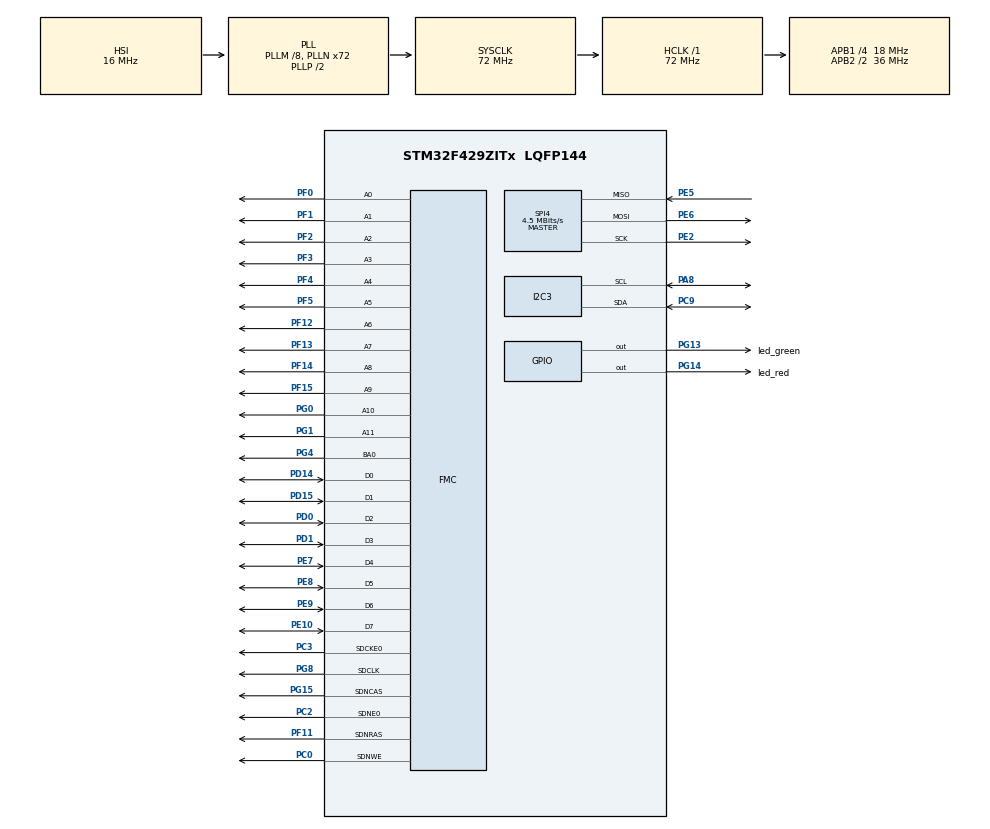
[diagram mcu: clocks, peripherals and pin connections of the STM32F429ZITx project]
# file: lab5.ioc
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FMC.CASLatency2=FMC_SDRAM_CAS_LATENCY_3
Mcu.Family=STM32F4
Mcu.Name=STM32F429ZITx
Mcu.Package=LQFP144
NVIC.FMC_IRQn=true\:0\:0\:false\:false\:true\:true\:true\:true
NVIC.FPU_IRQn=true\:0\:0\:false\:false\:true\:true\:false\:true
NVIC.I2C3_ER_IRQn=true\:0\:0\:false\:false\:true\:true\:true\:true
NVIC.I2C3_EV_IRQn=true\:0\:0\:false\:false\:true\:true\:true\:true
NVIC.PriorityGroup=NVIC_PRIORITYGROUP_4
NVIC.SPI4_IRQn=true\:0\:0\:false\:false\:true\:true\:true\:true
PA13.Signal=SYS_JTMS-SWDIO
PA14.Signal=SYS_JTCK-SWCLK
PA5.Signal=SPI1_SCK
PA6.Signal=SPI1_MISO
PA7.Signal=SPI1_MOSI
PA8.Mode=I2C
PA8.Signal=I2C3_SCL
PB10.Signal=SPI2_SCK
PB3.Signal=SYS_JTDO-SWO
PC0.Signal=FMC_SDNWE
PC2.Mode=SdramChipSelect1_2
PC2.Signal=FMC_SDNE0
PC3.Mode=SdramChipSelect1_2
PC3.Signal=FMC_SDCKE0
PC9.Mode=I2C
PC9.Signal=I2C3_SDA
PD0.Signal=FMC_D2_DA2
PD1.Signal=FMC_D3_DA3
PD14.Signal=FMC_D0_DA0
PD15.Signal=FMC_D1_DA1
PE10.Signal=FMC_D7_DA7
PE2.Mode=Full_Duplex_Master
PE2.Signal=SPI4_SCK
PE5.Mode=Full_Duplex_Master
PE5.Signal=SPI4_MISO
PE6.Mode=Full_Duplex_Master
PE6.Signal=SPI4_MOSI
PE7.Signal=FMC_D4_DA4
PE8.Signal=FMC_D5_DA5
PE9.Signal=FMC_D6_DA6
PF0.Signal=FMC_A0
PF1.Signal=FMC_A1
PF11.Signal=FMC_SDNRAS
PF12.Signal=FMC_A6
PF13.Signal=FMC_A7
PF14.Signal=FMC_A8
PF15.Signal=FMC_A9
PF2.Signal=FMC_A2
PF3.Signal=FMC_A3
PF4.Signal=FMC_A4
PF5.Signal=FMC_A5
PG0.Signal=FMC_A10
PG1.Signal=FMC_A11
PG13.GPIO_Label=led_green
PG13.Signal=GPIO_Output
PG14.GPIO_Label=led_red
PG14.Signal=GPIO_Output
PG15.Signal=FMC_SDNCAS
PG4.Signal=FMC_A14_BA0
PG8.Signal=FMC_SDCLK
ProjectManager.HeapSize=0x200
ProjectManager.StackSize=0x400
ProjectManager.TargetToolchain=STM32CubeIDE
RCC.48MHZClocksFreq_Value=48000000
RCC.AHBFreq_Value=72000000
RCC.APB1CLKDivider=RCC_HCLK_DIV4
RCC.APB1Freq_Value=18000000
RCC.APB1TimFreq_Value=36000000
RCC.APB2CLKDivider=RCC_HCLK_DIV2
RCC.APB2Freq_Value=36000000
RCC.APB2TimFreq_Value=72000000
RCC.CortexFreq_Value=72000000
RCC.HCLKFreq_Value=72000000
RCC.HSE_VALUE=8000000
RCC.HSI_VALUE=16000000
RCC.LSE_VALUE=32768
RCC.PLLM=8
RCC.PLLN=72
RCC.PLLQ=3
RCC.PLLSAIN=50
RCC.SYSCLKFreq_VALUE=72000000
RCC.SYSCLKSource=RCC_SYSCLKSOURCE_PLLCLK
RCC.VCOOutputFreq_Value=144000000
SH.FMC_A0.0=FMC_A0,12b-sda2
SH.FMC_A1.0=FMC_A1,12b-sda2
SH.FMC_A10.0=FMC_A10,12b-sda2
SH.FMC_A11.0=FMC_A11,12b-sda2
SH.FMC_A14_BA0.0=FMC_BA0,TwoSdramBanks2
SH.FMC_A2.0=FMC_A2,12b-sda2
SH.FMC_A3.0=FMC_A3,12b-sda2
SH.FMC_A4.0=FMC_A4,12b-sda2
SH.FMC_A5.0=FMC_A5,12b-sda2
SH.FMC_A6.0=FMC_A6,12b-sda2
SH.FMC_A7.0=FMC_A7,12b-sda2
SH.FMC_A8.0=FMC_A8,12b-sda2
SH.FMC_A9.0=FMC_A9,12b-sda2
SH.FMC_D0_DA0.0=FMC_D0,sd-8b-d2
SH.FMC_D1_DA1.0=FMC_D1,sd-8b-d2
SH.FMC_D2_DA2.0=FMC_D2,sd-8b-d2
SH.FMC_D3_DA3.0=FMC_D3,sd-8b-d2
SH.FMC_D4_DA4.0=FMC_D4,sd-8b-d2
SH.FMC_D5_DA5.0=FMC_D5,sd-8b-d2
SH.FMC_D6_DA6.0=FMC_D6,sd-8b-d2
SH.FMC_D7_DA7.0=FMC_D7,sd-8b-d2
SH.FMC_SDCLK.0=FMC_SDCLK,12b-sda2
SH.FMC_SDNCAS.0=FMC_SDNCAS,12b-sda2
SH.FMC_SDNRAS.0=FMC_SDNRAS,12b-sda2
SH.FMC_SDNWE.0=FMC_SDNWE,12b-sda2
SPI4.BaudRatePrescaler=SPI_BAUDRATEPRESCALER_8
SPI4.CalculateBaudRate=4.5 MBits/s
SPI4.Direction=SPI_DIRECTION_2LINES
SPI4.Mode=SPI_MODE_MASTER
SPI4.VirtualType=VM_MASTER
board=STM32F429I-DISC1

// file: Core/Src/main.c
/* USER CODE BEGIN Header */
/**
  ******************************************************************************
  * @file           : main.c
  * @brief          : Main program body
  ******************************************************************************
  * @attention
  *
  * Copyright (c) 2026 STMicroelectronics.
  * All rights reserved.
  *
  * This software is licensed under terms that can be found in the LICENSE file
  * in the root directory of this software component.
  * If no LICENSE file comes with this software, it is provided AS-IS.
  *
  ******************************************************************************
  */
/* USER CODE END Header */
#include "main.h"

/* USER CODE BEGIN Includes */
#include "stm32f429i_discovery_lcd.h" // Ekranui valdyti
#include <stdio.h>
//#include "ili9341.h"
/* USER CODE END Includes */

/* USER CODE BEGIN PD */
#define LCD_FB_START_ADDRESS 0xD0000000
/* USER CODE END PD */

I2C_HandleTypeDef hi2c3;

SPI_HandleTypeDef hspi4;

SDRAM_HandleTypeDef hsdram2;

/* USER CODE BEGIN PV */
uint8_t tx_data[4] = {4, 5, 7, 12}; // Duomenys perdavimui
uint8_t rx_data[4] = {0, 0, 0, 0};
char uart_buf[50];
/* USER CODE END PV */

void SystemClock_Config(void);
static void MX_GPIO_Init(void);
static void MX_SPI4_Init(void);
static void MX_FMC_Init(void);
static void MX_I2C3_Init(void);

/* USER CODE BEGIN 0 */
#ifndef LCD_DrvTypeDef
typedef struct {
  void     (*Init)(void);
  uint16_t (*ReadID)(void);
  void     (*DisplayOn)(void);
  void     (*DisplayOff)(void);
  void     (*SetCursor)(uint16_t, uint16_t);
  void     (*WritePixel)(uint16_t, uint16_t, uint16_t);
  uint16_t (*ReadPixel)(uint16_t, uint16_t);
  void     (*SetDisplayWindow)(uint16_t, uint16_t, uint16_t, uint16_t);
  void     (*DrawHLine)(uint16_t, uint16_t, uint16_t, uint16_t);
  void     (*DrawVLine)(uint16_t, uint16_t, uint16_t, uint16_t);
  uint16_t (*GetLcdPixelWidth)(void);
  uint16_t (*GetLcdPixelHeight)(void);
  void     (*DrawBitmap)(uint16_t, uint16_t, uint8_t*);
  void     (*DrawRGBImage)(uint16_t, uint16_t, uint16_t, uint16_t, uint8_t*);
} LCD_DrvTypeDef;
#endif
/* USER CODE END 0 */

int main(void)
{

  /* USER CODE BEGIN 1 */
	char msg_buf[50];
  /* USER CODE END 1 */

  /* MCU Configuration--------------------------------------------------------*/

  /* Reset of all peripherals, Initializes the Flash interface and the Systick. */
  HAL_Init();

  /* Configure the system clock */
  SystemClock_Config();

  /* Initialize all configured peripherals */
  MX_GPIO_Init();
  MX_SPI4_Init();
  MX_FMC_Init();
  MX_I2C3_Init();
  /* USER CODE BEGIN 2 */
  BSP_LCD_Init();
    BSP_LCD_LayerDefaultInit(1, LCD_FB_START_ADDRESS);
    BSP_LCD_SelectLayer(1);
    BSP_LCD_DisplayOn();
    BSP_LCD_Clear(LCD_COLOR_WHITE);
    BSP_LCD_SetTextColor(LCD_COLOR_BLUE);
    BSP_LCD_SetBackColor(LCD_COLOR_WHITE);
    BSP_LCD_SetFont(&Font16);

    BSP_LCD_DisplayStringAt(0, 10, (uint8_t*)"SPI4 LOOPBACK", CENTER_MODE);

    if (HAL_SPI_TransmitReceive(&hspi4, tx_data, rx_data, 4, 1000) == HAL_OK)
      {
          BSP_LCD_SetTextColor(LCD_COLOR_GREEN);
          for(int i = 0; i < 4; i++) {
              sprintf(msg_buf, "TX:%d -> RX:%d", tx_data[i], rx_data[i]);
              BSP_LCD_DisplayStringAt(0, 50 + (i*25), (uint8_t*)msg_buf, CENTER_MODE);
          }
      }
      else
      {
          BSP_LCD_SetTextColor(LCD_COLOR_RED);
          BSP_LCD_DisplayStringAt(0, 50, (uint8_t*)"SPI ERROR", CENTER_MODE);
      }
  /* USER CODE END 2 */

  /* Infinite loop */
  while (1)
  {
	HAL_Delay(100);

  }
}

void SystemClock_Config(void)
{
  RCC_OscInitTypeDef RCC_OscInitStruct = {0};
  RCC_ClkInitTypeDef RCC_ClkInitStruct = {0};

  /** Configure the main internal regulator output voltage
  */
  __HAL_RCC_PWR_CLK_ENABLE();
  __HAL_PWR_VOLTAGESCALING_CONFIG(PWR_REGULATOR_VOLTAGE_SCALE3);

  /** Initializes the RCC Oscillators according to the specified parameters
  * in the RCC_OscInitTypeDef structure.
  */
  RCC_OscInitStruct.OscillatorType = RCC_OSCILLATORTYPE_HSI;
  RCC_OscInitStruct.HSIState = RCC_HSI_ON;
  RCC_OscInitStruct.HSICalibrationValue = RCC_HSICALIBRATION_DEFAULT;
  RCC_OscInitStruct.PLL.PLLState = RCC_PLL_ON;
  RCC_OscInitStruct.PLL.PLLSource = RCC_PLLSOURCE_HSI;
  RCC_OscInitStruct.PLL.PLLM = 8;
  RCC_OscInitStruct.PLL.PLLN = 72;
  RCC_OscInitStruct.PLL.PLLP = RCC_PLLP_DIV2;
  RCC_OscInitStruct.PLL.PLLQ = 3;
  if (HAL_RCC_OscConfig(&RCC_OscInitStruct) != HAL_OK)
  {
    Error_Handler();
  }

  /** Initializes the CPU, AHB and APB buses clocks
  */
  RCC_ClkInitStruct.ClockType = RCC_CLOCKTYPE_HCLK|RCC_CLOCKTYPE_SYSCLK
                              |RCC_CLOCKTYPE_PCLK1|RCC_CLOCKTYPE_PCLK2;
  RCC_ClkInitStruct.SYSCLKSource = RCC_SYSCLKSOURCE_PLLCLK;
  RCC_ClkInitStruct.AHBCLKDivider = RCC_SYSCLK_DIV1;
  RCC_ClkInitStruct.APB1CLKDivider = RCC_HCLK_DIV4;
  RCC_ClkInitStruct.APB2CLKDivider = RCC_HCLK_DIV2;

  if (HAL_RCC_ClockConfig(&RCC_ClkInitStruct, FLASH_LATENCY_2) != HAL_OK)
  {
    Error_Handler();
  }
}

static void MX_I2C3_Init(void)
{

  hi2c3.Instance = I2C3;
  hi2c3.Init.ClockSpeed = 100000;
  hi2c3.Init.DutyCycle = I2C_DUTYCYCLE_2;
  hi2c3.Init.OwnAddress1 = 0;
  hi2c3.Init.AddressingMode = I2C_ADDRESSINGMODE_7BIT;
  hi2c3.Init.DualAddressMode = I2C_DUALADDRESS_DISABLE;
  hi2c3.Init.OwnAddress2 = 0;
  hi2c3.Init.GeneralCallMode = I2C_GENERALCALL_DISABLE;
  hi2c3.Init.NoStretchMode = I2C_NOSTRETCH_DISABLE;
  if (HAL_I2C_Init(&hi2c3) != HAL_OK)
  {
    Error_Handler();
  }

  /** Configure Analogue filter
  */
  if (HAL_I2CEx_ConfigAnalogFilter(&hi2c3, I2C_ANALOGFILTER_ENABLE) != HAL_OK)
  {
    Error_Handler();
  }

  /** Configure Digital filter
  */
  if (HAL_I2CEx_ConfigDigitalFilter(&hi2c3, 0) != HAL_OK)
  {
    Error_Handler();
  }

}

static void MX_SPI4_Init(void)
{

  /* SPI4 parameter configuration*/
  hspi4.Instance = SPI4;
  hspi4.Init.Mode = SPI_MODE_MASTER;
  hspi4.Init.Direction = SPI_DIRECTION_2LINES;
  hspi4.Init.DataSize = SPI_DATASIZE_8BIT;
  hspi4.Init.CLKPolarity = SPI_POLARITY_LOW;
  hspi4.Init.CLKPhase = SPI_PHASE_1EDGE;
  hspi4.Init.NSS = SPI_NSS_SOFT;
  hspi4.Init.BaudRatePrescaler = SPI_BAUDRATEPRESCALER_8;
  hspi4.Init.FirstBit = SPI_FIRSTBIT_MSB;
  hspi4.Init.TIMode = SPI_TIMODE_DISABLE;
  hspi4.Init.CRCCalculation = SPI_CRCCALCULATION_DISABLE;
  hspi4.Init.CRCPolynomial = 10;
  if (HAL_SPI_Init(&hspi4) != HAL_OK)
  {
    Error_Handler();
  }

}

/* FMC initialization function */
static void MX_FMC_Init(void)
{

  FMC_SDRAM_TimingTypeDef SdramTiming = {0};

  /** Perform the SDRAM2 memory initialization sequence
  */
  hsdram2.Instance = FMC_SDRAM_DEVICE;
  /* hsdram2.Init */
  hsdram2.Init.SDBank = FMC_SDRAM_BANK1;
  hsdram2.Init.ColumnBitsNumber = FMC_SDRAM_COLUMN_BITS_NUM_8;
  hsdram2.Init.RowBitsNumber = FMC_SDRAM_ROW_BITS_NUM_12;
  hsdram2.Init.MemoryDataWidth = FMC_SDRAM_MEM_BUS_WIDTH_8;
  hsdram2.Init.InternalBankNumber = FMC_SDRAM_INTERN_BANKS_NUM_2;
  hsdram2.Init.CASLatency = FMC_SDRAM_CAS_LATENCY_3;
  hsdram2.Init.WriteProtection = FMC_SDRAM_WRITE_PROTECTION_DISABLE;
  hsdram2.Init.SDClockPeriod = FMC_SDRAM_CLOCK_DISABLE;
  hsdram2.Init.ReadBurst = FMC_SDRAM_RBURST_DISABLE;
  hsdram2.Init.ReadPipeDelay = FMC_SDRAM_RPIPE_DELAY_0;
  /* SdramTiming */
  SdramTiming.LoadToActiveDelay = 16;
  SdramTiming.ExitSelfRefreshDelay = 16;
  SdramTiming.SelfRefreshTime = 16;
  SdramTiming.RowCycleDelay = 16;
  SdramTiming.WriteRecoveryTime = 16;
  SdramTiming.RPDelay = 16;
  SdramTiming.RCDDelay = 16;

  if (HAL_SDRAM_Init(&hsdram2, &SdramTiming) != HAL_OK)
  {
    Error_Handler( );
  }

}

static void MX_GPIO_Init(void)
{
  GPIO_InitTypeDef GPIO_InitStruct = {0};

  /* GPIO Ports Clock Enable */
  __HAL_RCC_GPIOE_CLK_ENABLE();
  __HAL_RCC_GPIOF_CLK_ENABLE();
  __HAL_RCC_GPIOC_CLK_ENABLE();
  __HAL_RCC_GPIOA_CLK_ENABLE();
  __HAL_RCC_GPIOG_CLK_ENABLE();
  __HAL_RCC_GPIOB_CLK_ENABLE();
  __HAL_RCC_GPIOD_CLK_ENABLE();

  /*Configure GPIO pin Output Level */
  HAL_GPIO_WritePin(GPIOG, led_green_Pin|led_red_Pin, GPIO_PIN_RESET);

  /*Configure GPIO pins : PA5 PA6 PA7 */
  GPIO_InitStruct.Pin = GPIO_PIN_5|GPIO_PIN_6|GPIO_PIN_7;
  GPIO_InitStruct.Mode = GPIO_MODE_AF_PP;
  GPIO_InitStruct.Pull = GPIO_NOPULL;
  GPIO_InitStruct.Speed = GPIO_SPEED_FREQ_VERY_HIGH;
  GPIO_InitStruct.Alternate = GPIO_AF5_SPI1;
  HAL_GPIO_Init(GPIOA, &GPIO_InitStruct);

  /*Configure GPIO pin : PB10 */
  GPIO_InitStruct.Pin = GPIO_PIN_10;
  GPIO_InitStruct.Mode = GPIO_MODE_AF_PP;
  GPIO_InitStruct.Pull = GPIO_NOPULL;
  GPIO_InitStruct.Speed = GPIO_SPEED_FREQ_VERY_HIGH;
  GPIO_InitStruct.Alternate = GPIO_AF5_SPI2;
  HAL_GPIO_Init(GPIOB, &GPIO_InitStruct);

  /*Configure GPIO pins : led_green_Pin led_red_Pin */
  GPIO_InitStruct.Pin = led_green_Pin|led_red_Pin;
  GPIO_InitStruct.Mode = GPIO_MODE_OUTPUT_PP;
  GPIO_InitStruct.Pull = GPIO_NOPULL;
  GPIO_InitStruct.Speed = GPIO_SPEED_FREQ_LOW;
  HAL_GPIO_Init(GPIOG, &GPIO_InitStruct);

}

void Error_Handler(void)
{
  __disable_irq();
  while (1)
  {
  }
}
